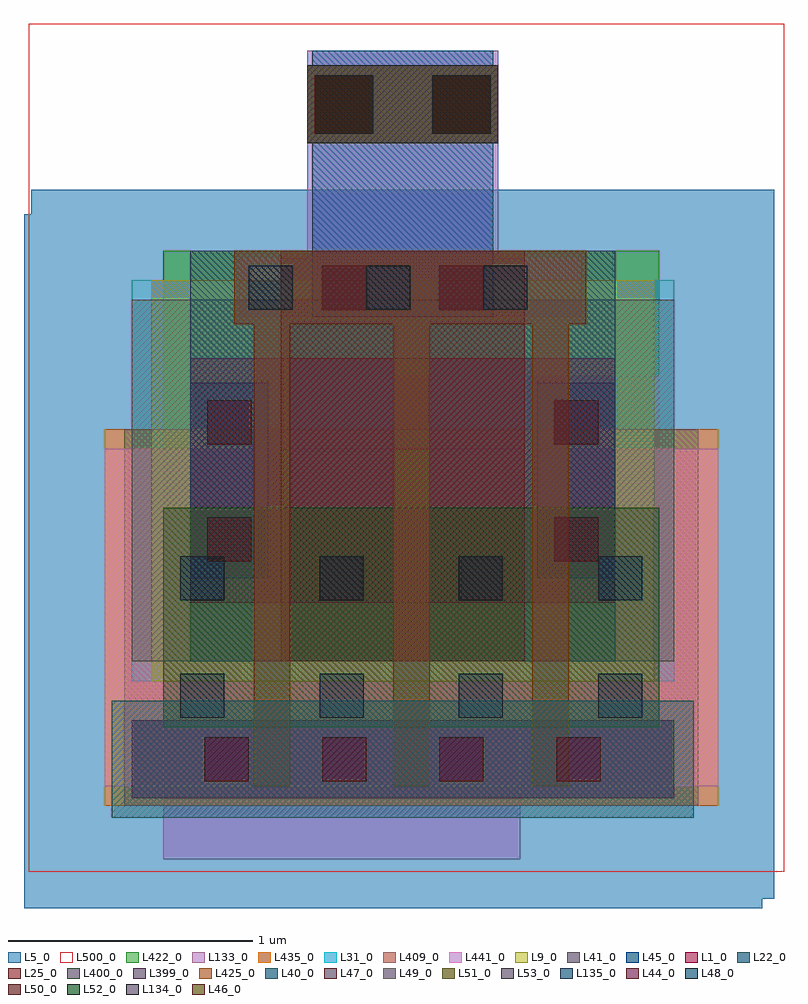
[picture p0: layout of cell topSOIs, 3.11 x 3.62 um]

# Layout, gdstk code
import gdstk
lib = gdstk.Library(unit=1e-6, precision=1e-09)
def R(c, l, rs):  # rectangles x0, y0, x1, y1
    for r in rs: c.add(gdstk.rectangle(r[:2], r[2:], *l))
def A(c, l, x, y, w, h, nx, ny, dx, dy):  # array of equal rectangles
    R(c, l, [(x+i*dx, y+j*dy, x+i*dx+w, y+j*dy+h) for i in range(nx) for j in range(ny)])
L1_0 = (1, 0)
L5_0 = (5, 0)
L9_0 = (9, 0)
L22_0 = (22, 0)
L25_0 = (25, 0)
L31_0 = (31, 0)
L40_0 = (40, 0)
L41_0 = (41, 0)
L44_0 = (44, 0)
L45_0 = (45, 0)
L46_0 = (46, 0)
L47_0 = (47, 0)
L48_0 = (48, 0)
L49_0 = (49, 0)
L50_0 = (50, 0)
L51_0 = (51, 0)
L52_0 = (52, 0)
L53_0 = (53, 0)
L133_0 = (133, 0)
L134_0 = (134, 0)
L135_0 = (135, 0)
L399_0 = (399, 0)
L400_0 = (400, 0)
L409_0 = (409, 0)
L422_0 = (422, 0)
L425_0 = (425, 0)
L435_0 = (435, 0)
L441_0 = (441, 0)
L500_0 = (500, 0)

nmos_hs_4_top_cdns_46038 = lib.new_cell('nmos_hs_4_top_CDNS_460382519360')
A(nmos_hs_4_top_cdns_46038, L133_0, -0.37, 0, 0.32, 0.9, 4, 1, 0.57, 0)
A(nmos_hs_4_top_cdns_46038, L133_0, -0.06, 1.68, 0.26, 0.24, 3, 1, 0.57, 0)
R(nmos_hs_4_top_cdns_46038, L133_0, [(-0.37,-0.54,1.09,-0.24), (-0.37,-0.3,-0.05,0.04), (0.77,-0.3,1.09,0.04), (-0.28,0.06,-0.14,0.2), (0.29,0.06,0.43,0.2), (0.2,0.8,0.52,1.14), (1.34,0.8,1.66,1.14), (0.2,1.14,1.66,1.44), (0.2,1.68,0.51,1.92), (0.77,1.68,1.08,1.92), (0,1.73,0.14,1.87)])
A(nmos_hs_4_top_cdns_46038, L135_0, -0.3, 0.04, 0.18, 0.18, 4, 2, 0.57, 0.48)
A(nmos_hs_4_top_cdns_46038, L135_0, -0.02, 1.71, 0.18, 0.18, 3, 1, 0.48, 0)
A(nmos_hs_4_top_cdns_46038, L399_0, 0, -0.24, 0.15, 1.89, 3, 1, 0.57, 0)
A(nmos_hs_4_top_cdns_46038, L399_0, -0.08, 1.65, 0.3, 0.3, 3, 1, 0.57, 0)
R(nmos_hs_4_top_cdns_46038, L399_0, [(0.04,0.1,0.1,0.18), (0.22,1.65,0.49,1.95), (0.79,1.65,1.06,1.95)])
A(nmos_hs_4_top_cdns_46038, L400_0, -0.37, 0, 0.32, 0.9, 4, 1, 0.57, 0)
A(nmos_hs_4_top_cdns_46038, L400_0, 0, 0, 0.15, 0.9, 3, 1, 0.57, 0)
R(nmos_hs_4_top_cdns_46038, L400_0, [(-0.05,0,0,0.9), (0.15,0,0.2,0.9), (0.52,0,0.57,0.9), (0.72,0,0.77,0.9), (1.09,0,1.14,0.9), (1.29,0,1.34,0.9)])
R(nmos_hs_4_top_cdns_46038, L409_0, [(-0.53,-0.32,1.82,1.22)])
R(nmos_hs_4_top_cdns_46038, L422_0, [(-0.37,-0.24,1.66,1.95)])
A(nmos_hs_4_top_cdns_46038, L425_0, 0, -0.24, 0.15, 1.89, 3, 1, 0.57, 0)
A(nmos_hs_4_top_cdns_46038, L425_0, -0.08, 1.65, 0.3, 0.3, 3, 1, 0.57, 0)
R(nmos_hs_4_top_cdns_46038, L425_0, [(0.22,1.65,0.49,1.95), (0.79,1.65,1.06,1.95)])
R(nmos_hs_4_top_cdns_46038, L435_0, [(-0.61,-0.32,1.9,1.22)])
R(nmos_hs_4_top_cdns_46038, L441_0, [(-0.61,-0.24,1.9,1.14)])

abutcontact_cdns_4603825 = lib.new_cell('AbutContact_CDNS_460382519362')
R(abutcontact_cdns_4603825, L1_0, [(0,-0.03,2.22,0.29)])
A(abutcontact_cdns_4603825, L44_0, 0.3, 0.04, 0.18, 0.18, 4, 1, 0.48, 0)
R(abutcontact_cdns_4603825, L45_0, [(0,-0.03,2.22,0.29)])

nmos_hs_4_cdns_460382519 = lib.new_cell('nmos_hs_4_CDNS_460382519361')
R(nmos_hs_4_cdns_460382519, L1_0, [(-0.37,0,0,1), (0,0,1,1), (1,0,1.37,1), (-0.37,0.1,-0.05,0.9), (1.05,0.1,1.37,0.9)])
R(nmos_hs_4_cdns_460382519, L5_0, [(-1.02,-1.21,2.02,1.69), (-0.77,-0.96,1.77,1.32)])
R(nmos_hs_4_cdns_460382519, L9_0, [(-0.53,-0.32,1.53,1.32)])
R(nmos_hs_4_cdns_460382519, L22_0, [(-0.37,-0.24,1.37,1.44)])
R(nmos_hs_4_cdns_460382519, L25_0, [(0,-0.24,1,0), (0,-0.24,1,1.24), (0,1,1,1.24), (0,1.14,1,1.44), (0.11,1.14,0.89,1.44)])
R(nmos_hs_4_cdns_460382519, L31_0, [(-0.61,-0.32,1.61,1.32)])
R(nmos_hs_4_cdns_460382519, L40_0, [(-0.69,-0.88,1.69,-0.4)])
R(nmos_hs_4_cdns_460382519, L41_0, [(-0.61,-0.24,1.61,1.24)])
R(nmos_hs_4_cdns_460382519, L44_0, [(-0.3,0.17,-0.12,0.35), (1.12,0.17,1.3,0.35), (-0.3,0.65,-0.12,0.83), (1.12,0.65,1.3,0.83), (0.17,1.2,0.35,1.38), (0.65,1.2,0.83,1.38)])
R(nmos_hs_4_cdns_460382519, L45_0, [(-0.61,-0.8,1.61,-0.48), (-0.37,0.1,-0.05,0.9), (1.05,0.1,1.37,0.9), (0.13,1.17,0.87,1.41)])
nmos_hs_4_cdns_460382519.add(gdstk.Reference(abutcontact_cdns_4603825, (-0.61,-0.77)))

m2_m3_cdns_460382519360 = lib.new_cell('M2_M3_CDNS_460382519360')
R(m2_m3_cdns_460382519360, L47_0, [(-0.39,-0.16,0.39,0.16)])
R(m2_m3_cdns_460382519360, L48_0, [(-0.36,-0.12,-0.12,0.12), (0.12,-0.12,0.36,0.12)])
R(m2_m3_cdns_460382519360, L49_0, [(-0.39,-0.16,0.39,0.16)])

m3_m4_cdns_460382519361 = lib.new_cell('M3_M4_CDNS_460382519361')
R(m3_m4_cdns_460382519361, L49_0, [(-0.39,-0.16,0.39,0.16)])
R(m3_m4_cdns_460382519361, L50_0, [(-0.36,-0.12,-0.12,0.12), (0.12,-0.12,0.36,0.12)])
R(m3_m4_cdns_460382519361, L51_0, [(-0.39,-0.16,0.39,0.16)])

m4_m5_cdns_460382519362 = lib.new_cell('M4_M5_CDNS_460382519362')
R(m4_m5_cdns_460382519362, L51_0, [(-0.39,-0.16,0.39,0.16)])
R(m4_m5_cdns_460382519362, L52_0, [(-0.36,-0.12,-0.12,0.12), (0.12,-0.12,0.36,0.12)])
R(m4_m5_cdns_460382519362, L53_0, [(-0.39,-0.16,0.39,0.16)])

m5_m1_top_cdns_460382519 = lib.new_cell('M5_M1_top_CDNS_460382519363')
R(m5_m1_top_cdns_460382519, L53_0, [(-0.39,-0.16,0.39,0.16)])
R(m5_m1_top_cdns_460382519, L133_0, [(-0.39,-0.16,0.39,0.16)])
R(m5_m1_top_cdns_460382519, L134_0, [(-0.36,-0.12,-0.12,0.12), (0.12,-0.12,0.36,0.12)])

m1_m2_cdns_460382519364 = lib.new_cell('M1_M2_CDNS_460382519364')
R(m1_m2_cdns_460382519364, L45_0, [(-0.39,-0.16,0.39,0.16)])
R(m1_m2_cdns_460382519364, L46_0, [(-0.36,-0.12,-0.12,0.12), (0.12,-0.12,0.36,0.12)])
R(m1_m2_cdns_460382519364, L47_0, [(-0.39,-0.16,0.39,0.16)])

topsois = lib.new_cell('topSOIs')
R(topsois, L5_0, [(-3.47,2.8,-0.45,5.64)])
R(topsois, L45_0, [(-2.29,5.22,-1.55,6.31)])
R(topsois, L133_0, [(-2.31,5.22,-1.53,6.31)])
R(topsois, L500_0, [(-3.45,2.95,-0.36,6.42)])
topsois.add(gdstk.Reference(nmos_hs_4_top_cdns_46038, (-2.53,3.54)))
topsois.add(gdstk.Reference(nmos_hs_4_cdns_460382519, (-2.42,4.05)))
topsois.add(gdstk.Reference(m2_m3_cdns_460382519360, (-1.92,6.09)))
topsois.add(gdstk.Reference(m3_m4_cdns_460382519361, (-1.92,6.09)))
topsois.add(gdstk.Reference(m4_m5_cdns_460382519362, (-1.92,6.09)))
topsois.add(gdstk.Reference(m5_m1_top_cdns_460382519, (-1.92,6.09)))
topsois.add(gdstk.Reference(m1_m2_cdns_460382519364, (-1.92,6.09)))

lib.write_gds('topSOIs.gds')
